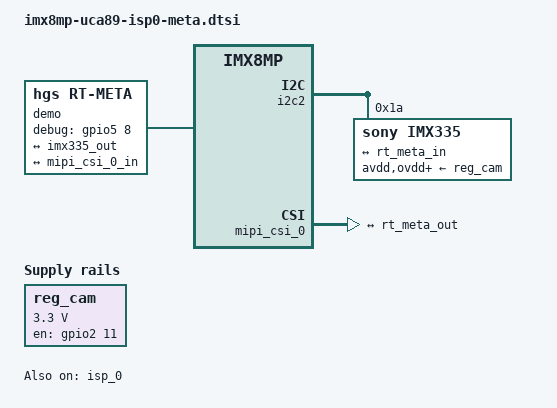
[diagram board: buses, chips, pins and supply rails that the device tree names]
// SPDX-License-Identifier: GPL-2.0-only OR BSD-3-Clause
/*
 * Copyright Leica Geosystems AG
 */

#include <dt-bindings/clock/imx8mp-clock.h>
#include <dt-bindings/gpio/gpio.h>
#include <dt-bindings/media/video-interfaces.h>
#include "imx8mp-pinfunc.h"
#include <dt-bindings/gpio/gpio.h>
#include <dt-bindings/leds/common.h>

&iomuxc {

	pinctrl_csi0_pwn: csi0_pwn_grp {
		fsl,pins = <
			MX8MP_IOMUXC_SD1_STROBE__GPIO2_IO11	0x19
		>;
	};

	pinctrl_csi_mclk: csi_mclk_grp {
		fsl,pins = <
			MX8MP_IOMUXC_GPIO1_IO15__CCM_CLKO2	0x59
		>;
	};

	pinctrl_uart3_cts_gpio: uart3-cts-gpio {
		fsl,pins = <
			MX8MP_IOMUXC_ECSPI1_MISO__GPIO5_IO08 0x19
		>;
	};
};

&{/} {
	reg_cam: regulator-cam {
		pinctrl-names = "default";
		pinctrl-0 = <&pinctrl_csi0_pwn>;
		compatible = "regulator-fixed";
		regulator-name = "reg_cam";
		gpio = <&gpio2 11 GPIO_ACTIVE_HIGH>;
		enable-active-high;
		regulator-min-microvolt = <3300000>;
		regulator-max-microvolt = <3300000>;
		regulator-always-on;
		regulator-boot-on;
	};
};

&{/} {
	rt_meta0: rt_meta@0 {
		compatible = "hgs,rt-meta";
		status = "okay";
		label = "demo";
		generate-syncpulse;
		debug-gpio = <&gpio5 8 GPIO_ACTIVE_HIGH>;
		pinctrl-names = "default";
		pinctrl-0 = <&pinctrl_uart3_cts_gpio>;

		ports {
			#address-cells = <1>;
			#size-cells = <0>;

			port@0 {
				reg = <0>;
				rt_meta_in: endpoint {
					remote-endpoint = <&imx335_out>;
					link-frequencies = /bits/ 64 <445500000>;
				};
			};

			port@1 {
				reg = <1>;
				rt_meta_out: endpoint {
					remote-endpoint = <&mipi_csi_0_in>;
					link-frequencies = /bits/ 64 <445500000>;
				};
			};
		};
	};
};

&i2c2 {
	imx335: imx335@1a {
		compatible = "sony,imx335";
		reg = <0x1a>;
		pinctrl-names = "default";
		pinctrl-0 = <&pinctrl_csi_mclk>;
                clocks = <&clk IMX8MP_CLK_IPP_DO_CLKO2>;
                assigned-clocks = <&clk IMX8MP_CLK_IPP_DO_CLKO2>;
                assigned-clock-parents = <&clk IMX8MP_CLK_24M>;
                assigned-clock-rates = <24000000>;
		slave-mode;
		rotation = <0>;
		orientation = <2>;
		avdd-supply = <&reg_cam>;
		ovdd-supply = <&reg_cam>;
		dvdd-supply = <&reg_cam>;

		port {
			imx335_out: endpoint {
				remote-endpoint = <&rt_meta_in>;
				clock-lanes = <0>;
				data-lanes = <1 2 3 4>;
				link-frequencies = /bits/ 64 <445500000>;
			};
		};
	};
};
	

&isi_0 {
	ports {
		port@0 {
			/delete-node/ endpoint;
		};
	};
};


&isp_0 {
	status = "okay";

	ports {
		port@1 {
			isp0_in: endpoint {
				bus-type = <MEDIA_BUS_TYPE_PARALLEL>;
				remote-endpoint = <&mipi_csi_0_out>;
			};
		};
	};
};

					
&mipi_csi_0 {
        status = "okay";

        ports { 
                port@0 {
                        mipi_csi_0_in: endpoint {
                                remote-endpoint = <&rt_meta_out>;
                                clock-lanes = <0>;
                                data-lanes = <1 2 3 4>;
                        };
                };
        };
};

&mipi_csi_0_out {
	remote-endpoint = <&isp0_in>;
};


